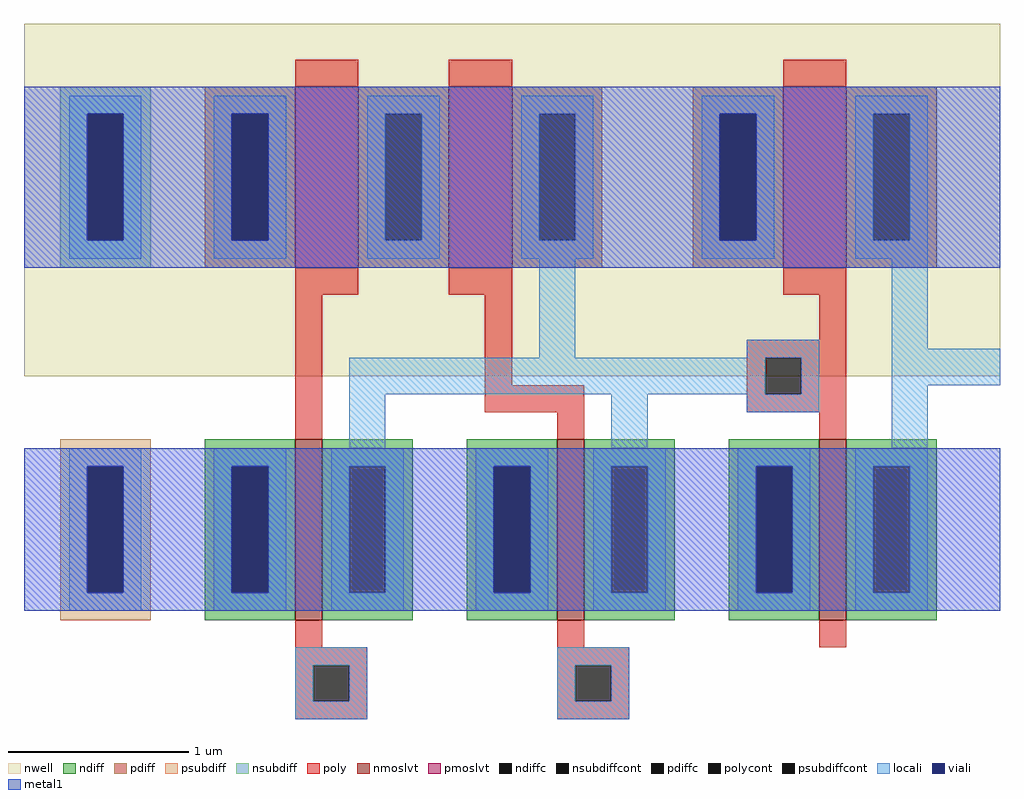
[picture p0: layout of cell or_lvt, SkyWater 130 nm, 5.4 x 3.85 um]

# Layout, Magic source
magic
tech sky130A
<< nwell >>
rect -150 85 390 280
<< pmoslvt >>
rect 0 145 35 245
rect 85 145 120 245
rect 270 145 305 245
<< nmoslvt >>
rect 0 -50 15 50
rect 145 -50 160 50
rect 290 -50 305 50
<< ndiff >>
rect -50 35 0 50
rect -50 -35 -35 35
rect -15 -35 0 35
rect -50 -50 0 -35
rect 15 35 65 50
rect 15 -35 30 35
rect 50 -35 65 35
rect 15 -50 65 -35
rect 95 35 145 50
rect 95 -35 110 35
rect 130 -35 145 35
rect 95 -50 145 -35
rect 160 35 210 50
rect 160 -35 175 35
rect 195 -35 210 35
rect 160 -50 210 -35
rect 240 35 290 50
rect 240 -35 255 35
rect 275 -35 290 35
rect 240 -50 290 -35
rect 305 35 355 50
rect 305 -35 320 35
rect 340 -35 355 35
rect 305 -50 355 -35
<< pdiff >>
rect -50 230 0 245
rect -50 160 -35 230
rect -15 160 0 230
rect -50 145 0 160
rect 35 230 85 245
rect 35 160 50 230
rect 70 160 85 230
rect 35 145 85 160
rect 120 230 170 245
rect 120 160 135 230
rect 155 160 170 230
rect 120 145 170 160
rect 220 230 270 245
rect 220 160 235 230
rect 255 160 270 230
rect 220 145 270 160
rect 305 230 355 245
rect 305 160 320 230
rect 340 160 355 230
rect 305 145 355 160
<< ndiffc >>
rect -35 -35 -15 35
rect 30 -35 50 35
rect 110 -35 130 35
rect 175 -35 195 35
rect 255 -35 275 35
rect 320 -35 340 35
<< pdiffc >>
rect -35 160 -15 230
rect 50 160 70 230
rect 135 160 155 230
rect 235 160 255 230
rect 320 160 340 230
<< psubdiff >>
rect -130 35 -80 50
rect -130 -35 -115 35
rect -95 -35 -80 35
rect -130 -50 -80 -35
<< nsubdiff >>
rect -130 230 -80 245
rect -130 160 -115 230
rect -95 160 -80 230
rect -130 145 -80 160
<< psubdiffcont >>
rect -115 -35 -95 35
<< nsubdiffcont >>
rect -115 160 -95 230
<< poly >>
rect 0 245 35 260
rect 85 245 120 260
rect 270 245 305 260
rect 0 130 35 145
rect 85 130 120 145
rect 270 130 305 145
rect 0 50 15 130
rect 105 80 120 130
rect 290 105 305 130
rect 250 95 305 105
rect 105 65 160 80
rect 250 75 260 95
rect 280 75 305 95
rect 250 65 305 75
rect 145 50 160 65
rect 290 50 305 65
rect 0 -65 15 -50
rect 145 -65 160 -50
rect 290 -65 305 -50
rect 0 -75 40 -65
rect 0 -95 10 -75
rect 30 -95 40 -75
rect 0 -105 40 -95
rect 145 -75 185 -65
rect 145 -95 155 -75
rect 175 -95 185 -75
rect 145 -105 185 -95
<< polycont >>
rect 260 75 280 95
rect 10 -95 30 -75
rect 155 -95 175 -75
<< locali >>
rect -125 230 -85 240
rect -125 160 -115 230
rect -95 160 -85 230
rect -125 150 -85 160
rect -45 230 -5 240
rect -45 160 -35 230
rect -15 160 -5 230
rect -45 150 -5 160
rect 40 230 80 240
rect 40 160 50 230
rect 70 160 80 230
rect 40 150 80 160
rect 125 230 165 240
rect 125 160 135 230
rect 155 160 165 230
rect 125 150 165 160
rect 225 230 265 240
rect 225 160 235 230
rect 255 160 265 230
rect 225 150 265 160
rect 310 230 350 240
rect 310 160 320 230
rect 340 160 350 230
rect 310 150 350 160
rect 135 95 155 150
rect 250 95 290 105
rect 30 75 260 95
rect 280 75 290 95
rect 30 45 50 75
rect 175 45 195 75
rect 250 65 290 75
rect 330 100 350 150
rect 330 80 390 100
rect 330 45 350 80
rect -125 35 -85 45
rect -125 -35 -115 35
rect -95 -35 -85 35
rect -125 -45 -85 -35
rect -45 35 -5 45
rect -45 -35 -35 35
rect -15 -35 -5 35
rect -45 -45 -5 -35
rect 20 35 60 45
rect 20 -35 30 35
rect 50 -35 60 35
rect 20 -45 60 -35
rect 100 35 140 45
rect 100 -35 110 35
rect 130 -35 140 35
rect 100 -45 140 -35
rect 165 35 205 45
rect 165 -35 175 35
rect 195 -35 205 35
rect 165 -45 205 -35
rect 245 35 285 45
rect 245 -35 255 35
rect 275 -35 285 35
rect 245 -45 285 -35
rect 310 35 350 45
rect 310 -35 320 35
rect 340 -35 350 35
rect 310 -45 350 -35
rect 0 -75 40 -65
rect 0 -95 10 -75
rect 30 -95 40 -75
rect 0 -105 40 -95
rect 145 -75 185 -65
rect 145 -95 155 -75
rect 175 -95 185 -75
rect 145 -105 185 -95
<< viali >>
rect -115 160 -95 230
rect -35 160 -15 230
rect 235 160 255 230
rect -115 -35 -95 35
rect -35 -35 -15 35
rect 110 -35 130 35
rect 255 -35 275 35
<< metal1 >>
rect -150 230 390 245
rect -150 160 -115 230
rect -95 160 -35 230
rect -15 160 235 230
rect 255 160 390 230
rect -150 145 390 160
rect -150 35 390 45
rect -150 -35 -115 35
rect -95 -35 -35 35
rect -15 -35 110 35
rect 130 -35 255 35
rect 275 -35 390 35
rect -150 -45 390 -35
<< end >>
